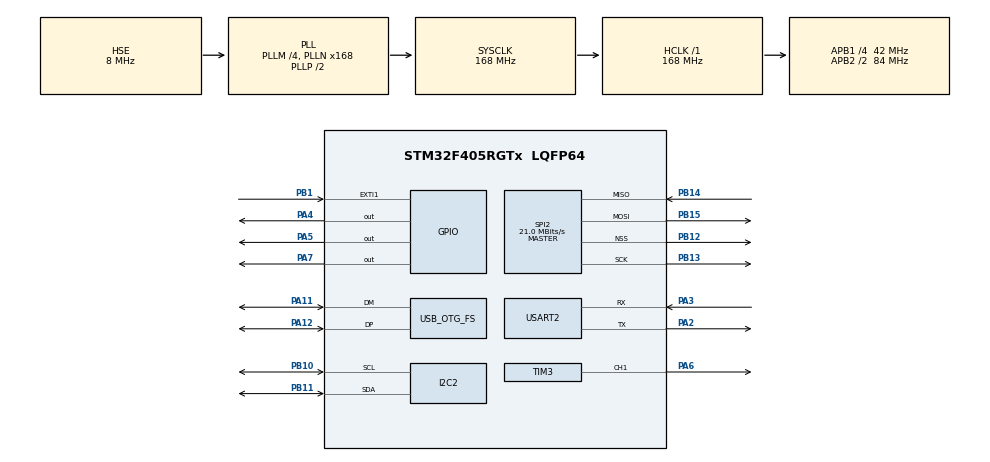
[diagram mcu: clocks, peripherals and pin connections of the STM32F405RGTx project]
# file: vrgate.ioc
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Mcu.Family=STM32F4
Mcu.Name=STM32F405RGTx
Mcu.Package=LQFP64
NVIC.EXTI1_IRQn=true\:1\:0\:true\:false\:true\:true\:true
NVIC.OTG_FS_IRQn=true\:0\:0\:false\:false\:true\:false\:true
NVIC.PriorityGroup=NVIC_PRIORITYGROUP_4
NVIC.TIM3_IRQn=true\:0\:0\:true\:false\:true\:true\:true
PA11.Mode=Device_Only
PA11.Signal=USB_OTG_FS_DM
PA12.Mode=Device_Only
PA12.Signal=USB_OTG_FS_DP
PA2.Mode=Asynchronous
PA2.Signal=USART2_TX
PA3.Mode=Asynchronous
PA3.Signal=USART2_RX
PA4.Signal=GPIO_Output
PA5.Signal=GPIO_Output
PA6.Signal=S_TIM3_CH1
PA7.Signal=GPIO_Output
PB1.Signal=GPXTI1
PB10.Mode=I2C
PB10.Signal=I2C2_SCL
PB11.Mode=I2C
PB11.Signal=I2C2_SDA
PB12.Mode=NSS_Signal_Hard_Output
PB12.Signal=SPI2_NSS
PB13.Mode=Full_Duplex_Master
PB13.Signal=SPI2_SCK
PB14.Mode=Full_Duplex_Master
PB14.Signal=SPI2_MISO
PB15.Mode=Full_Duplex_Master
PB15.Signal=SPI2_MOSI
PH0-OSC_IN.Mode=HSE-External-Oscillator
PH0-OSC_IN.Signal=RCC_OSC_IN
PH1-OSC_OUT.Mode=HSE-External-Oscillator
PH1-OSC_OUT.Signal=RCC_OSC_OUT
ProjectManager.HeapSize=0x200
ProjectManager.StackSize=0x400
ProjectManager.TargetToolchain=Makefile
RCC.48MHZClocksFreq_Value=48000000
RCC.AHBFreq_Value=168000000
RCC.APB1CLKDivider=RCC_HCLK_DIV4
RCC.APB1Freq_Value=42000000
RCC.APB1TimFreq_Value=84000000
RCC.APB2CLKDivider=RCC_HCLK_DIV2
RCC.APB2Freq_Value=84000000
RCC.APB2TimFreq_Value=168000000
RCC.CortexFreq_Value=168000000
RCC.HCLKFreq_Value=168000000
RCC.HSE_VALUE=8000000
RCC.HSI_VALUE=16000000
RCC.LSE_VALUE=32768
RCC.PLLM=4
RCC.PLLN=168
RCC.PLLQ=7
RCC.SYSCLKFreq_VALUE=168000000
RCC.SYSCLKSource=RCC_SYSCLKSOURCE_PLLCLK
RCC.VCOOutputFreq_Value=336000000
SH.S_TIM3_CH1.0=TIM3_CH1,PWM Generation1 CH1
SPI2.BaudRatePrescaler=SPI_BAUDRATEPRESCALER_2
SPI2.CalculateBaudRate=21.0 MBits/s
SPI2.Direction=SPI_DIRECTION_2LINES
SPI2.Mode=SPI_MODE_MASTER
SPI2.VirtualNSS=VM_NSSHARD
SPI2.VirtualType=VM_MASTER
TIM3.AutoReloadPreload=TIM_AUTORELOAD_PRELOAD_ENABLE
TIM3.Channel-PWM\ Generation1\ CH1=TIM_CHANNEL_1
TIM3.Period=63
TIM3.Prescaler=2624
TIM3.Pulse-PWM\ Generation1\ CH1=31
USART2.VirtualMode=VM_ASYNC
USB_DEVICE.CLASS_NAME_FS=CDC
USB_DEVICE.MANUFACTURER_STRING-CDC_FS=SCU_Makers
USB_DEVICE.PRODUCT_STRING_CDC_FS=Test CDC for VRGATE
USB_DEVICE.VirtualMode-CDC_FS=Cdc
USB_DEVICE.VirtualModeFS=Cdc_FS
USB_OTG_FS.Sof_enable=ENABLE
USB_OTG_FS.VirtualMode=Device_Only
VP_TIM3_VS_ClockSourceINT.Mode=Internal
VP_USB_DEVICE_VS_USB_DEVICE_CDC_FS.Mode=CDC_FS
board=custom

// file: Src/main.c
/* USER CODE BEGIN Header */
/**
  ******************************************************************************
  * @file           : main.c
  * @brief          : Main program body
  ******************************************************************************
  * @attention
  *
  * <h2><center>&copy; Copyright (c) 2021 STMicroelectronics.
  * All rights reserved.</center></h2>
  *
  * This software component is licensed by ST under Ultimate Liberty license
  * SLA0044, the "License"; You may not use this file except in compliance with
  * the License. You may obtain a copy of the License at:
  *                             www.st.com/SLA0044
  *
  ******************************************************************************
  */
/*
 * 0x080e0000 u32 sysconfig
 * 0x080c0000 u32 edidconf
 * 0x080c0100 u32[64] edid
 */
/* USER CODE END Header */
#include "main.h"
#include "usb_device.h"
#include "usbd_cdc_if.h"

/* USER CODE BEGIN Includes */
#include "i2cdump_gen.h"
#include "utils.h"
#include "stmflash.h"
/* USER CODE END Includes */

/* USER CODE BEGIN PM */
#define __TC358840XBG_I2C_ADDR 0x0f
#define TC358840XBG_I2C_ADDR ( __TC358840XBG_I2C_ADDR << 1 )
/* USER CODE END PM */

I2C_HandleTypeDef hi2c2;

SPI_HandleTypeDef hspi2;

TIM_HandleTypeDef htim3;

UART_HandleTypeDef huart2;

/* USER CODE BEGIN PV */

uint8_t isInited=0;
volatile uint8_t isConnected=0;
volatile uint8_t isIniting=0;
volatile uint8_t pwmVal=31;
volatile uint8_t sysInitMode=0;
/* USER CODE END PV */

void SystemClock_Config(void);
static void MX_GPIO_Init(void);
static void MX_I2C2_Init(void);
static void MX_SPI2_Init(void);
static void MX_USART2_UART_Init(void);
static void MX_TIM3_Init(void);
/* USER CODE BEGIN PFP */
void HAL_GPIO_EXTI_Callback(uint16_t GPIO_Pin);
static void replay_i2c(const i2c_op *ops, const uint16_t size);
static void i2c_conf_init();
/* USER CODE END PFP */

/* USER CODE BEGIN 0 */
void HAL_GPIO_EXTI_Callback(uint16_t GPIO_Pin){
	if(GPIO_Pin==GPIO_PIN_1){
		if(isIniting==1){
			char uartbuf[64];
			sprintf(uartbuf,"WARN: HDMI changed during init\n");
			CDC_Transmit_FS((uint8_t*)uartbuf,strlen(uartbuf));
		}
		/*char uartbuf[64];
		uint8_t i2cbuf[4]={0x00,0x00,0x00,0x00};
		//sprintf(uartbuf,"INT detected\n");
		i2cbuf[0]=0x85;
		i2cbuf[1]=0x0b;
		i2cbuf[2]=0xff;
		HAL_I2C_Master_Transmit(&hi2c2,TC358840XBG_I2C_ADDR,i2cbuf,3,10);
		i2cbuf[0]=0x00;
		i2cbuf[1]=0x14;
		i2cbuf[2]=0xbf;
		i2cbuf[3]=0x0f;
		HAL_I2C_Master_Transmit(&hi2c2,TC358840XBG_I2C_ADDR,i2cbuf,4,10);
		//CDC_Transmit_FS((uint8_t*)uartbuf,strlen(uartbuf));
		if(isInited){
			i2cbuf[0]=checkSysReg();
			sprintf(uartbuf,"SYS STATUS: %.2x\n",i2cbuf[0]);
			CDC_Transmit_FS((uint8_t*)uartbuf,strlen(uartbuf));
			if(!((i2cbuf[0] & 0x0f) ==0x0f)){	// disconnected, init
				setPWMPulse(63);
				isConnected=0;
				//replay_i2c(i2cops_init,sizeof(i2cops_init)/sizeof(i2c_op));
				sprintf(uartbuf,"HDMI Disconnected\n");
				CDC_Transmit_FS((uint8_t*)uartbuf,strlen(uartbuf));
			}else{
				isConnected=1;
				setPWMPulse(pwmVal);
				sprintf(uartbuf,"HDMI Connected\n");
				CDC_Transmit_FS((uint8_t*)uartbuf,strlen(uartbuf));
			}
		}*/
	}
}

void replay_i2c(const i2c_op *ops, const uint16_t size){

	HAL_Delay(10);
	for(uint16_t i=0;i<size;++i){
		HAL_Delay(ops[i].timestamp);
		uint8_t i2cbuf[6];
		if(ops[i].operate==0){	// Write
			i2cbuf[0]=ops[i].address / 256;
			i2cbuf[1]=ops[i].address % 256;
			if(ops[i].datasize==2){
				i2cbuf[2]=ops[i].data / 256;
				i2cbuf[3]=ops[i].data % 256;
			}else if(ops[i].datasize==1){
				i2cbuf[2]=ops[i].data % 256;
			}else if(ops[i].datasize==4){
				i2cbuf[2]= ops[i].data/(256*256*256);
				i2cbuf[3]= (ops[i].data % (256*256*256))/(256*256);
				i2cbuf[4]= (ops[i].data % (256*256))/(256);
				i2cbuf[5]= (ops[i].data % (256));
			}
			HAL_I2C_Master_Transmit(&hi2c2,TC358840XBG_I2C_ADDR,i2cbuf,ops[i].datasize+2,10);
		}else{	// Read
			i2cbuf[0]=ops[i].address / 256;
			i2cbuf[1]=ops[i].address % 256;
			HAL_I2C_Master_Transmit(&hi2c2,TC358840XBG_I2C_ADDR,i2cbuf,2,10);
			HAL_I2C_Master_Receive(&hi2c2,TC358840XBG_I2C_ADDR,i2cbuf,ops[i].datasize,10);
		}
	}
}
void i2c_conf_init(){
	HAL_NVIC_DisableIRQ(EXTI1_IRQn);
	isIniting=1;
	HAL_GPIO_WritePin(GPIOA, GPIO_PIN_5, GPIO_PIN_SET);
	replay_i2c(i2cops_init_be,sizeof(i2cops_init_be)/sizeof(i2c_op));
	if(STMFLASH_ReadWord(0x080e0000)==0xabcdefab){	// user defined EDID

	}else{	// preset EDID
		uint8_t i2cbuf[3]={0x8c,0x00,0x00};
		for(uint16_t i=0;i<256;++i){
			i2cbuf[1]=i;
			i2cbuf[2]=i2cops_init_edid[i];
			HAL_I2C_Master_Transmit(&hi2c2,TC358840XBG_I2C_ADDR,i2cbuf,3,10);
		}
	}
	replay_i2c(i2cops_init_ae,sizeof(i2cops_init_ae)/sizeof(i2c_op));
	HAL_GPIO_WritePin(GPIOA, GPIO_PIN_5, GPIO_PIN_RESET);
	isIniting=0;
	HAL_NVIC_EnableIRQ(EXTI1_IRQn);
}
void setPWMPulse(uint16_t pulseWidth){
	/*TIM_OC_InitTypeDef sConfigOC = {0};
	sConfigOC.OCMode = TIM_OCMODE_PWM1;
	sConfigOC.Pulse = pulseWidth;
	sConfigOC.OCPolarity = TIM_OCPOLARITY_HIGH;
	sConfigOC.OCFastMode = TIM_OCFAST_DISABLE;
	HAL_TIM_PWM_ConfigChannel(&htim3, &sConfigOC, TIM_CHANNEL_1);*/
	TIM3->CCR1=pulseWidth;
}
void updateBcaklight(uint16_t val){
	pwmVal=val;
	u32tou8 flashdata;
	flashdata.u8[0]=0xab;
	flashdata.u8[1]=pwmVal;
	flashdata.u8[2]=sysInitMode;
	STMFLASH_Write(0x080e0000,&flashdata.u32,1);
}
void setInitMode(uint8_t mode){
	sysInitMode=mode;
	u32tou8 flashdata;
	flashdata.u8[0]=0xab;
	flashdata.u8[1]=pwmVal;
	flashdata.u8[2]=sysInitMode;
	STMFLASH_Write(0x080e0000,&flashdata.u32,1);
}
uint8_t checkSysReg(){
	uint8_t i2cbuf[2]={0x00,0x00};
	i2cbuf[0]=0x85;
	i2cbuf[1]=0x20;
	HAL_I2C_Master_Transmit(&hi2c2,TC358840XBG_I2C_ADDR,i2cbuf,2,10);
	HAL_I2C_Master_Receive(&hi2c2,TC358840XBG_I2C_ADDR,i2cbuf,1,10);
	return i2cbuf[0];
}
uint8_t checkSysRegA(uint16_t addr){
	uint8_t i2cbuf[2]={0x00,0x00};
	i2cbuf[0]=addr/256;
	i2cbuf[1]=addr%256;
	HAL_I2C_Master_Transmit(&hi2c2,TC358840XBG_I2C_ADDR,i2cbuf,2,10);
	HAL_I2C_Master_Receive(&hi2c2,TC358840XBG_I2C_ADDR,i2cbuf,1,10);
	return i2cbuf[0];
}
/* USER CODE END 0 */

int main(void)
{

  /* MCU Configuration--------------------------------------------------------*/

  /* Reset of all peripherals, Initializes the Flash interface and the Systick. */
  HAL_Init();

  /* Configure the system clock */
  SystemClock_Config();

  /* Initialize all configured peripherals */
  MX_GPIO_Init();
  MX_USB_DEVICE_Init();
  MX_I2C2_Init();
  MX_SPI2_Init();
  MX_USART2_UART_Init();
  MX_TIM3_Init();

  u32tou8 flashdata;
  flashdata.u32= STMFLASH_ReadWord(0x080e0000);
  if(flashdata.u8[0]==0xab){
	  pwmVal=flashdata.u8[1];
	  sysInitMode=flashdata.u8[2];
  }else{
	  flashdata.u8[0]=0xab;
	  flashdata.u8[1]=31;
	  flashdata.u8[2]=0x00;
	  STMFLASH_Write(0x080e0000,&flashdata.u32,1);
  }

  /* USER CODE BEGIN 2 */
  HAL_TIM_PWM_Start(&htim3, TIM_CHANNEL_1);	// Backlight PWM
  TIM3->CCR1=63;

  HAL_GPIO_WritePin(GPIOA, GPIO_PIN_7, GPIO_PIN_SET);	// RESETN=0 for 10ms, TOSHIBA
  HAL_Delay(10);
  HAL_GPIO_WritePin(GPIOA, GPIO_PIN_7, GPIO_PIN_RESET);	// RESETN=1

  HAL_Delay(500);

  /* dump TOSHIBA Chip and Revision ID */
  uint8_t i2cbuf[4]={0x00,0x00,0x00,0x00};
  char uartbuf[64];
  if(HAL_I2C_Master_Transmit(&hi2c2,TC358840XBG_I2C_ADDR,i2cbuf,2,10)!=HAL_OK){
	  sprintf(uartbuf,"I2C write to TC358840XBG failed\n");
  }else{
	  if(HAL_I2C_Master_Receive(&hi2c2,TC358840XBG_I2C_ADDR,i2cbuf,2,10)!=HAL_OK){
		  sprintf(uartbuf,"I2C read from TC358840XBG failed\n");
	  }else{
		  sprintf(uartbuf,"TC358840XBG ChipID=0x%.2x, RevisionID=0x%.2x\n",i2cbuf[1],i2cbuf[0]);
	  }
  }
  CDC_Transmit_FS((uint8_t*)uartbuf,strlen(uartbuf));

  // configure TOSHIBA
  i2c_conf_init();
  isInited=1;
  uint8_t sysreg=checkSysReg();
  sprintf(uartbuf,"SYS STATUS: %.2x\n",sysreg);
  CDC_Transmit_FS((uint8_t*)uartbuf,strlen(uartbuf));
  if((sysreg& 0x0f)==0x0f){	// Detected on boot?
	  isConnected=1;
  }else{
	  isConnected=0;
  }
  HAL_Delay(50);

  /* USER CODE END 2 */

  /* Infinite loop */
  while (1)
  {
	sysreg=checkSysReg();
	/*sprintf(uartbuf,"SYS STATUS L: %.2x\n",sysreg);
	CDC_Transmit_FS((uint8_t*)uartbuf,strlen(uartbuf));*/
	if((sysreg& 0x0f)==0x0f){	// detected
		if(!isConnected){	// first detected, hdmi ready
			if(sysInitMode==1){
				HAL_GPIO_WritePin(GPIOA, GPIO_PIN_7, GPIO_PIN_SET);	// RESETN=0 for 10ms, TOSHIBA
				HAL_Delay(10);
				HAL_GPIO_WritePin(GPIOA, GPIO_PIN_7, GPIO_PIN_RESET);	// RESETN=1
				HAL_Delay(500);
				i2c_conf_init();
			}
			setPWMPulse(pwmVal);	// recover
			HAL_Delay(3000);
			isConnected=1;
		}
	}else{	// lost
		if(isConnected){	// first lost
			setPWMPulse(63);	// backlight off
			if(sysInitMode==0){
				HAL_GPIO_WritePin(GPIOA, GPIO_PIN_7, GPIO_PIN_SET);	// RESETN=0 for 10ms, TOSHIBA
				HAL_Delay(10);
				HAL_GPIO_WritePin(GPIOA, GPIO_PIN_7, GPIO_PIN_RESET);	// RESETN=1
				HAL_Delay(500);
				i2c_conf_init();
			}
			isConnected=0;
		}
	}
	HAL_Delay(200);
	/*sprintf(uartbuf,"Heartbeat\n");
	CDC_Transmit_FS((uint8_t*)uartbuf,strlen(uartbuf));
	HAL_Delay(1000);*/
  }
}

void SystemClock_Config(void)
{
  RCC_OscInitTypeDef RCC_OscInitStruct = {0};
  RCC_ClkInitTypeDef RCC_ClkInitStruct = {0};

  /** Configure the main internal regulator output voltage
  */
  __HAL_RCC_PWR_CLK_ENABLE();
  __HAL_PWR_VOLTAGESCALING_CONFIG(PWR_REGULATOR_VOLTAGE_SCALE1);
  /** Initializes the RCC Oscillators according to the specified parameters
  * in the RCC_OscInitTypeDef structure.
  */
  RCC_OscInitStruct.OscillatorType = RCC_OSCILLATORTYPE_HSE;
  RCC_OscInitStruct.HSEState = RCC_HSE_ON;
  RCC_OscInitStruct.PLL.PLLState = RCC_PLL_ON;
  RCC_OscInitStruct.PLL.PLLSource = RCC_PLLSOURCE_HSE;
  RCC_OscInitStruct.PLL.PLLM = 4;
  RCC_OscInitStruct.PLL.PLLN = 168;
  RCC_OscInitStruct.PLL.PLLP = RCC_PLLP_DIV2;
  RCC_OscInitStruct.PLL.PLLQ = 7;
  if (HAL_RCC_OscConfig(&RCC_OscInitStruct) != HAL_OK)
  {
    Error_Handler();
  }
  /** Initializes the CPU, AHB and APB buses clocks
  */
  RCC_ClkInitStruct.ClockType = RCC_CLOCKTYPE_HCLK|RCC_CLOCKTYPE_SYSCLK
                              |RCC_CLOCKTYPE_PCLK1|RCC_CLOCKTYPE_PCLK2;
  RCC_ClkInitStruct.SYSCLKSource = RCC_SYSCLKSOURCE_PLLCLK;
  RCC_ClkInitStruct.AHBCLKDivider = RCC_SYSCLK_DIV1;
  RCC_ClkInitStruct.APB1CLKDivider = RCC_HCLK_DIV4;
  RCC_ClkInitStruct.APB2CLKDivider = RCC_HCLK_DIV2;

  if (HAL_RCC_ClockConfig(&RCC_ClkInitStruct, FLASH_LATENCY_5) != HAL_OK)
  {
    Error_Handler();
  }
}

static void MX_I2C2_Init(void)
{

  hi2c2.Instance = I2C2;
  hi2c2.Init.ClockSpeed = 100000;
  hi2c2.Init.DutyCycle = I2C_DUTYCYCLE_2;
  hi2c2.Init.OwnAddress1 = 0;
  hi2c2.Init.AddressingMode = I2C_ADDRESSINGMODE_7BIT;
  hi2c2.Init.DualAddressMode = I2C_DUALADDRESS_DISABLE;
  hi2c2.Init.OwnAddress2 = 0;
  hi2c2.Init.GeneralCallMode = I2C_GENERALCALL_DISABLE;
  hi2c2.Init.NoStretchMode = I2C_NOSTRETCH_DISABLE;
  if (HAL_I2C_Init(&hi2c2) != HAL_OK)
  {
    Error_Handler();
  }

}

static void MX_SPI2_Init(void)
{

  /* SPI2 parameter configuration*/
  hspi2.Instance = SPI2;
  hspi2.Init.Mode = SPI_MODE_MASTER;
  hspi2.Init.Direction = SPI_DIRECTION_2LINES;
  hspi2.Init.DataSize = SPI_DATASIZE_8BIT;
  hspi2.Init.CLKPolarity = SPI_POLARITY_LOW;
  hspi2.Init.CLKPhase = SPI_PHASE_1EDGE;
  hspi2.Init.NSS = SPI_NSS_HARD_OUTPUT;
  hspi2.Init.BaudRatePrescaler = SPI_BAUDRATEPRESCALER_2;
  hspi2.Init.FirstBit = SPI_FIRSTBIT_MSB;
  hspi2.Init.TIMode = SPI_TIMODE_DISABLE;
  hspi2.Init.CRCCalculation = SPI_CRCCALCULATION_DISABLE;
  hspi2.Init.CRCPolynomial = 10;
  if (HAL_SPI_Init(&hspi2) != HAL_OK)
  {
    Error_Handler();
  }

}

static void MX_TIM3_Init(void)
{

  TIM_ClockConfigTypeDef sClockSourceConfig = {0};
  TIM_MasterConfigTypeDef sMasterConfig = {0};
  TIM_OC_InitTypeDef sConfigOC = {0};

  htim3.Instance = TIM3;
  htim3.Init.Prescaler = 2624;
  htim3.Init.CounterMode = TIM_COUNTERMODE_UP;
  htim3.Init.Period = 63;
  htim3.Init.ClockDivision = TIM_CLOCKDIVISION_DIV1;
  htim3.Init.AutoReloadPreload = TIM_AUTORELOAD_PRELOAD_ENABLE;
  if (HAL_TIM_Base_Init(&htim3) != HAL_OK)
  {
    Error_Handler();
  }
  sClockSourceConfig.ClockSource = TIM_CLOCKSOURCE_INTERNAL;
  if (HAL_TIM_ConfigClockSource(&htim3, &sClockSourceConfig) != HAL_OK)
  {
    Error_Handler();
  }
  if (HAL_TIM_PWM_Init(&htim3) != HAL_OK)
  {
    Error_Handler();
  }
  sMasterConfig.MasterOutputTrigger = TIM_TRGO_RESET;
  sMasterConfig.MasterSlaveMode = TIM_MASTERSLAVEMODE_DISABLE;
  if (HAL_TIMEx_MasterConfigSynchronization(&htim3, &sMasterConfig) != HAL_OK)
  {
    Error_Handler();
  }
  sConfigOC.OCMode = TIM_OCMODE_PWM1;
  sConfigOC.Pulse = 63;
  sConfigOC.OCPolarity = TIM_OCPOLARITY_HIGH;
  sConfigOC.OCFastMode = TIM_OCFAST_DISABLE;
  if (HAL_TIM_PWM_ConfigChannel(&htim3, &sConfigOC, TIM_CHANNEL_1) != HAL_OK)
  {
    Error_Handler();
  }
  HAL_TIM_MspPostInit(&htim3);

}

static void MX_USART2_UART_Init(void)
{

  huart2.Instance = USART2;
  huart2.Init.BaudRate = 115200;
  huart2.Init.WordLength = UART_WORDLENGTH_8B;
  huart2.Init.StopBits = UART_STOPBITS_1;
  huart2.Init.Parity = UART_PARITY_NONE;
  huart2.Init.Mode = UART_MODE_TX_RX;
  huart2.Init.HwFlowCtl = UART_HWCONTROL_NONE;
  huart2.Init.OverSampling = UART_OVERSAMPLING_16;
  if (HAL_UART_Init(&huart2) != HAL_OK)
  {
    Error_Handler();
  }

}

static void MX_GPIO_Init(void)
{
  GPIO_InitTypeDef GPIO_InitStruct = {0};

  /* GPIO Ports Clock Enable */
  __HAL_RCC_GPIOH_CLK_ENABLE();
  __HAL_RCC_GPIOA_CLK_ENABLE();
  __HAL_RCC_GPIOB_CLK_ENABLE();

  /*Configure GPIO pin Output Level */
  HAL_GPIO_WritePin(GPIOA, GPIO_PIN_4|GPIO_PIN_5|GPIO_PIN_7, GPIO_PIN_RESET);

  /*Configure GPIO pins : PA4 PA5 PA7 */
  GPIO_InitStruct.Pin = GPIO_PIN_4|GPIO_PIN_5|GPIO_PIN_7;
  GPIO_InitStruct.Mode = GPIO_MODE_OUTPUT_PP;
  GPIO_InitStruct.Pull = GPIO_NOPULL;
  GPIO_InitStruct.Speed = GPIO_SPEED_FREQ_LOW;
  HAL_GPIO_Init(GPIOA, &GPIO_InitStruct);

  /*Configure GPIO pin : PB1 */
  GPIO_InitStruct.Pin = GPIO_PIN_1;
  GPIO_InitStruct.Mode = GPIO_MODE_IT_RISING;
  GPIO_InitStruct.Pull = GPIO_NOPULL;
  HAL_GPIO_Init(GPIOB, &GPIO_InitStruct);

  /* EXTI interrupt init*/
  HAL_NVIC_SetPriority(EXTI1_IRQn, 1, 0);
  HAL_NVIC_EnableIRQ(EXTI1_IRQn);

}

void Error_Handler(void)
{
  __disable_irq();
  while (1)
  {
  }
}

/************************ (C) COPYRIGHT STMicroelectronics *****END OF FILE****/
